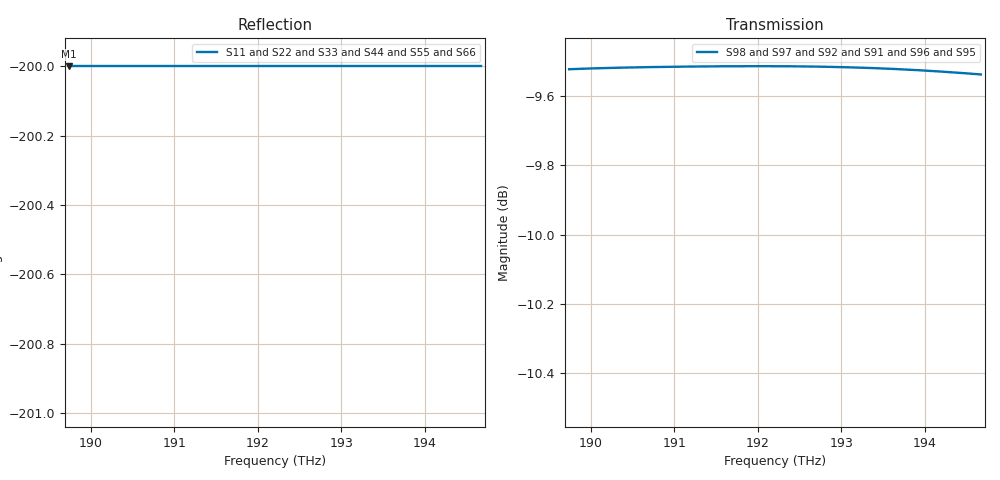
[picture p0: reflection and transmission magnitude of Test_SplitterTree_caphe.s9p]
! Touchstone file export by IPKISS
! Luceda port out1: mode 0:0
! Luceda port out2: mode 0:1
! Luceda port out3: mode 0:2
! Luceda port out4: mode 0:3
! Luceda port out5: mode 0:4
! Luceda port out6: mode 0:5
! Luceda port out7: mode 0:6
! Luceda port out8: mode 0:7
! Luceda port in: mode 0:8
# GHz S MA R 50.0
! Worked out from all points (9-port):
!   501 points, 189.74 THz to 194.67 THz, reference 50 ohm
!   strongest paths, dB at 189.74 THz, 190.95 THz, 192.17 THz, 193.41 THz, 194.67 THz:
!     S98: -9.5, -9.5, -9.5, -9.5, -9.5
!     S97: -9.5, -9.5, -9.5, -9.5, -9.5
!     S92: -9.5, -9.5, -9.5, -9.5, -9.5
!     S91: -9.5, -9.5, -9.5, -9.5, -9.5
!     S96: -9.5, -9.5, -9.5, -9.5, -9.5
!     S95: -9.5, -9.5, -9.5, -9.5, -9.5
!   lowest |S11| = - dB at 189.74 THz (marker M1), VSWR 1.00, Z = 50 + j0 ohm
!   |S11| at or under -10 dB: start of sweep to end of sweep
